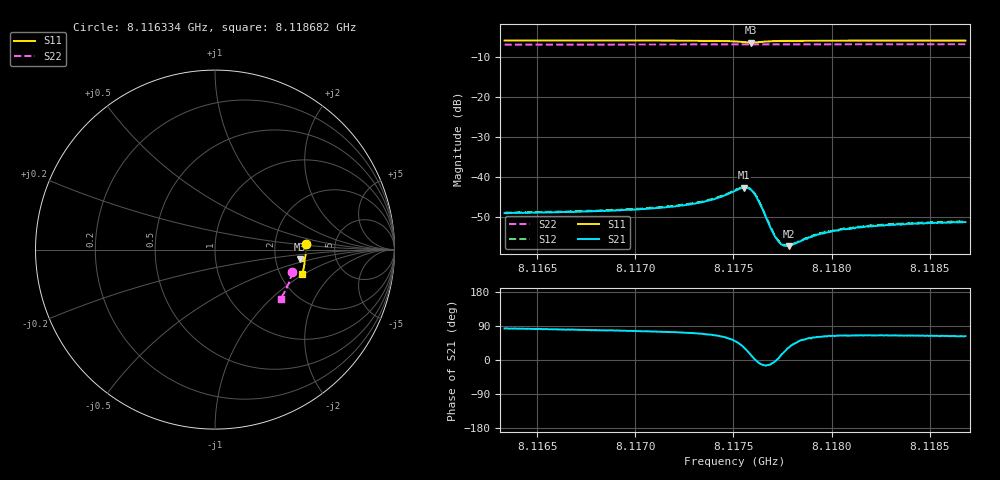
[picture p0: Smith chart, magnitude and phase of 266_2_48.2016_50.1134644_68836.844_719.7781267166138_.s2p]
#  HZ  S  RI  R  50.00
! Rohde & Schwarz Vector Network Analyzer
! Rohde-Schwarz,ZNB20-2Port,1311601062101988,3.16
! Created: UTC 3/20/2024, 11:47:58 AM
! freq[Hz]  re:S11  im:S11  re:S21  im:S21  re:S12  im:S12  re:S22  im:S22
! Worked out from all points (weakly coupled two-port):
!   401 points, 8.116334 GHz to 8.118682 GHz, reference 50 ohm
!   highest |S21| = -42.59 dB at 8.117555 GHz (marker M1); lowest = -57.2 dB at 8.117784 GHz (marker M2)
!   lowest |S11| = -6.4 dB at 8.11759 GHz (marker M3), VSWR 2.83, Z = 138 - j19.5 ohm
!   |S11| at or under -10 dB: nowhere
!   |S22| runs from -6.9 to -6.8 dB; largest |S21 - S12| = 0.00021
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8.1163337e9  0.5059 0.0334  0.000429 0.00353  0.000464 0.00356  0.4318 -0.1243
8.1167271e9  0.5064 0.00357  0.000665 0.00368  0.000729 0.00371  0.4245 -0.1507
8.1171205e9  0.5046 -0.0274  0.00112 0.00398  0.00116 0.00405  0.4155 -0.1765
8.1172497e9  0.5031 -0.0383  0.00139 0.00424  0.00143 0.00434  0.4123 -0.1851
8.1173495e9  0.5012 -0.0475  0.00181 0.00459  0.00189 0.00468  0.4095 -0.1915
8.1174317e9  0.4975 -0.056  0.00256 0.00501  0.00267 0.00509  0.4071 -0.1969
8.1175081e9  0.4891 -0.0635  0.00433 0.00517  0.00446 0.00522  0.4043 -0.2017
8.117555e9  0.479 -0.0629  0.00627 0.00397  0.00646 0.00398  0.4028 -0.2045
8.1175726e9  0.4759 -0.0595  0.00677 0.00283  0.0069 0.00285  0.4021 -0.2052
8.1175903e9  0.4747 -0.0544  0.00676 0.00148  0.00694 0.00143  0.4018 -0.2062
8.1176079e9  0.4766 -0.0496  0.00616 0.000235  0.00628 0.000167  0.4013 -0.2071
8.1176255e9  0.4803 -0.0466  0.00518 -0.000532  0.00528 -0.000633  0.4012 -0.2079
8.117696e9  0.4938 -0.0506  0.00215 -0.000325  0.00222 -0.000376  0.3996 -0.2125
8.1177253e9  0.4963 -0.0544  0.00164 7.11e-05  0.00165 7.79e-05  0.3988 -0.2144
8.1177488e9  0.4975 -0.0574  0.00138 0.000399  0.00141 0.000391  0.3979 -0.2162
8.117784e9  0.4983 -0.0615  0.00115 0.000752  0.0012 0.000791  0.3972 -0.2184
8.1178075e9  0.4989 -0.0643  0.00108 0.001  0.0011 0.000978  0.3963 -0.2198
8.1179015e9  0.4987 -0.0735  0.000932 0.00155  0.000981 0.00159  0.3934 -0.2257
8.1179543e9  0.4984 -0.0782  0.000929 0.00175  0.000973 0.0018  0.3915 -0.2291
8.1180541e9  0.4972 -0.0867  0.000966 0.00201  0.00101 0.00203  0.3884 -0.2352
8.1182949e9  0.4937 -0.1055  0.00107 0.00227  0.00113 0.00237  0.3799 -0.2498
8.1186824e9  0.4865 -0.1342  0.00126 0.00245  0.00133 0.0025  0.3653 -0.2728
